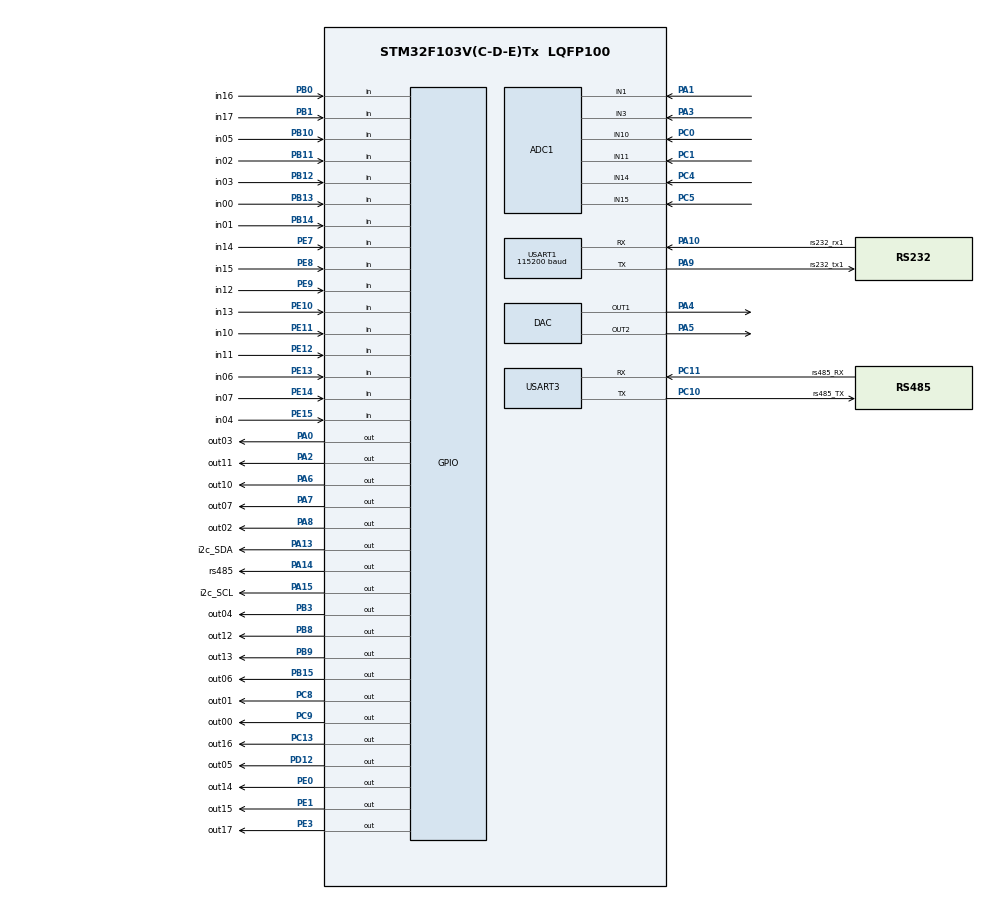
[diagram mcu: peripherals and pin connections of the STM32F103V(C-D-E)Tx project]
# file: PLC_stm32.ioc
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ADC1.Channel-0\#ChannelRegularConversion=ADC_CHANNEL_1
ADC1.Channel-1\#ChannelRegularConversion=ADC_CHANNEL_3
ADC1.Channel-2\#ChannelRegularConversion=ADC_CHANNEL_10
ADC1.Channel-3\#ChannelRegularConversion=ADC_CHANNEL_11
ADC1.Channel-4\#ChannelRegularConversion=ADC_CHANNEL_14
ADC1.Channel-5\#ChannelRegularConversion=ADC_CHANNEL_15
ADC1.NbrOfConversion=6
ADC1.NbrOfConversionFlag=1
ADC1.Rank-0\#ChannelRegularConversion=1
ADC1.Rank-1\#ChannelRegularConversion=2
ADC1.Rank-2\#ChannelRegularConversion=3
ADC1.Rank-3\#ChannelRegularConversion=4
ADC1.Rank-4\#ChannelRegularConversion=5
ADC1.Rank-5\#ChannelRegularConversion=6
ADC1.SamplingTime-0\#ChannelRegularConversion=ADC_SAMPLETIME_55CYCLES_5
ADC1.SamplingTime-1\#ChannelRegularConversion=ADC_SAMPLETIME_55CYCLES_5
ADC1.SamplingTime-2\#ChannelRegularConversion=ADC_SAMPLETIME_55CYCLES_5
ADC1.SamplingTime-3\#ChannelRegularConversion=ADC_SAMPLETIME_55CYCLES_5
ADC1.SamplingTime-4\#ChannelRegularConversion=ADC_SAMPLETIME_55CYCLES_5
ADC1.SamplingTime-5\#ChannelRegularConversion=ADC_SAMPLETIME_55CYCLES_5
ADC1.master=1
Dma.ADC1.0.Direction=DMA_PERIPH_TO_MEMORY
Dma.ADC1.0.Instance=DMA1_Channel1
Dma.ADC1.0.MemDataAlignment=DMA_MDATAALIGN_HALFWORD
Dma.ADC1.0.MemInc=DMA_MINC_ENABLE
Dma.ADC1.0.Mode=DMA_CIRCULAR
Dma.ADC1.0.PeriphDataAlignment=DMA_PDATAALIGN_HALFWORD
Dma.ADC1.0.PeriphInc=DMA_PINC_DISABLE
Dma.ADC1.0.Priority=DMA_PRIORITY_LOW
Dma.Request0=ADC1
Dma.Request1=USART3_RX
Dma.Request2=USART3_TX
Dma.USART3_RX.1.Direction=DMA_PERIPH_TO_MEMORY
Dma.USART3_RX.1.Instance=DMA1_Channel3
Dma.USART3_RX.1.MemDataAlignment=DMA_MDATAALIGN_BYTE
Dma.USART3_RX.1.MemInc=DMA_MINC_ENABLE
Dma.USART3_RX.1.Mode=DMA_NORMAL
Dma.USART3_RX.1.PeriphDataAlignment=DMA_PDATAALIGN_BYTE
Dma.USART3_RX.1.PeriphInc=DMA_PINC_DISABLE
Dma.USART3_RX.1.Priority=DMA_PRIORITY_LOW
Dma.USART3_TX.2.Direction=DMA_MEMORY_TO_PERIPH
Dma.USART3_TX.2.Instance=DMA1_Channel2
Dma.USART3_TX.2.MemDataAlignment=DMA_MDATAALIGN_BYTE
Dma.USART3_TX.2.MemInc=DMA_MINC_ENABLE
Dma.USART3_TX.2.Mode=DMA_NORMAL
Dma.USART3_TX.2.PeriphDataAlignment=DMA_PDATAALIGN_BYTE
Dma.USART3_TX.2.PeriphInc=DMA_PINC_DISABLE
Dma.USART3_TX.2.Priority=DMA_PRIORITY_LOW
Mcu.Family=STM32F1
Mcu.Name=STM32F103V(C-D-E)Tx
Mcu.Package=LQFP100
NVIC.DMA1_Channel1_IRQn=true\:0\:0\:false\:false\:true\:false\:true\:true
NVIC.DMA1_Channel2_IRQn=true\:0\:0\:false\:false\:true\:false\:true\:true
NVIC.DMA1_Channel3_IRQn=true\:0\:0\:false\:false\:true\:false\:true\:true
NVIC.PriorityGroup=NVIC_PRIORITYGROUP_4
NVIC.TIM1_UP_IRQn=true\:0\:0\:false\:false\:true\:true\:true\:true
NVIC.USART3_IRQn=true\:0\:0\:false\:false\:true\:true\:true\:true
PA0-WKUP.GPIO_Label=out03
PA0-WKUP.Signal=GPIO_Output
PA1.Signal=ADCx_IN1
PA10.GPIO_Label=rs232_rx1
PA10.Mode=Asynchronous
PA10.Signal=USART1_RX
PA13.GPIO_Label=i2c_SDA
PA13.GPIO_ModeDefaultOutputPP=GPIO_MODE_OUTPUT_OD
PA13.GPIO_PuPd=GPIO_NOPULL
PA13.Signal=GPIO_Output
PA14.GPIO_Label=rs485
PA14.Signal=GPIO_Output
PA15.GPIO_Label=i2c_SCL
PA15.GPIO_ModeDefaultOutputPP=GPIO_MODE_OUTPUT_OD
PA15.GPIO_PuPd=GPIO_NOPULL
PA15.Signal=GPIO_Output
PA2.GPIO_Label=out11
PA2.Signal=GPIO_Output
PA3.Signal=ADCx_IN3
PA4.Signal=COMP_DAC1_group
PA5.Signal=COMP_DAC2_group
PA6.GPIO_Label=out10
PA6.Signal=GPIO_Output
PA7.GPIO_Label=out07
PA7.Signal=GPIO_Output
PA8.GPIO_Label=out02
PA8.Signal=GPIO_Output
PA9.GPIO_Label=rs232_tx1
PA9.Mode=Asynchronous
PA9.Signal=USART1_TX
PB0.GPIO_Label=in16
PB0.Signal=GPIO_Input
PB1.GPIO_Label=in17
PB1.Signal=GPIO_Input
PB10.GPIO_Label=in05
PB10.Signal=GPIO_Input
PB11.GPIO_Label=in02
PB11.Signal=GPIO_Input
PB12.GPIO_Label=in03
PB12.Signal=GPIO_Input
PB13.GPIO_Label=in00
PB13.Signal=GPIO_Input
PB14.GPIO_Label=in01
PB14.Signal=GPIO_Input
PB15.GPIO_Label=out06
PB15.Signal=GPIO_Output
PB3.GPIO_Label=out04
PB3.Signal=GPIO_Output
PB8.GPIO_Label=out12
PB8.Signal=GPIO_Output
PB9.GPIO_Label=out13
PB9.Signal=GPIO_Output
PC0.Signal=ADCx_IN10
PC1.Signal=ADCx_IN11
PC10.GPIO_Label=rs485_TX
PC10.Mode=Asynchronous
PC10.Signal=USART3_TX
PC11.GPIO_Label=rs485_RX
PC11.Mode=Asynchronous
PC11.Signal=USART3_RX
PC13-TAMPER-RTC.GPIO_Label=out16
PC13-TAMPER-RTC.Signal=GPIO_Output
PC4.Signal=ADCx_IN14
PC5.Signal=ADCx_IN15
PC8.GPIO_Label=out01
PC8.Signal=GPIO_Output
PC9.GPIO_Label=out00
PC9.Signal=GPIO_Output
PD12.GPIO_Label=out05
PD12.Signal=GPIO_Output
PE0.GPIO_Label=out14
PE0.Signal=GPIO_Output
PE1.GPIO_Label=out15
PE1.Signal=GPIO_Output
PE10.GPIO_Label=in13
PE10.Signal=GPIO_Input
PE11.GPIO_Label=in10
PE11.Signal=GPIO_Input
PE12.GPIO_Label=in11
PE12.Signal=GPIO_Input
PE13.GPIO_Label=in06
PE13.Signal=GPIO_Input
PE14.GPIO_Label=in07
PE14.Signal=GPIO_Input
PE15.GPIO_Label=in04
PE15.Signal=GPIO_Input
PE3.GPIO_Label=out17
PE3.Signal=GPIO_Output
PE7.GPIO_Label=in14
PE7.Signal=GPIO_Input
PE8.GPIO_Label=in15
PE8.Signal=GPIO_Input
PE9.GPIO_Label=in12
PE9.Signal=GPIO_Input
ProjectManager.HeapSize=0x200
ProjectManager.StackSize=0x400
ProjectManager.TargetToolchain=STM32CubeIDE
RCC.APB1Freq_Value=8000000
RCC.APB2Freq_Value=8000000
SH.ADCx_IN1.0=ADC1_IN1,IN1
SH.ADCx_IN10.0=ADC1_IN10,IN10
SH.ADCx_IN11.0=ADC1_IN11,IN11
SH.ADCx_IN14.0=ADC1_IN14,IN14
SH.ADCx_IN15.0=ADC1_IN15,IN15
SH.ADCx_IN3.0=ADC1_IN3,IN3
SH.COMP_DAC1_group.0=DAC_OUT1,DAC_OUT1
SH.COMP_DAC2_group.0=DAC_OUT2,DAC_OUT2
TIM1.AutoReloadPreload=TIM_AUTORELOAD_PRELOAD_ENABLE
TIM1.Period=99
TIM1.Prescaler=7999
USART1.BaudRate=115200
USART1.VirtualMode=VM_ASYNC
USART3.VirtualMode=VM_ASYNC
VP_SYS_VS_ND.Mode=No_Debug
VP_TIM1_VS_ClockSourceINT.Mode=Internal
board=custom

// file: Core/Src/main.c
/* USER CODE BEGIN Header */
/**
 ******************************************************************************
 * @file           : main.c
 * @brief          : Main program body
 ******************************************************************************
 * @attention
 *
 * Copyright (c) 2026 STMicroelectronics.
 * All rights reserved.
 *
 * This software is licensed under terms that can be found in the LICENSE file
 * in the root directory of this software component.
 * If no LICENSE file comes with this software, it is provided AS-IS.
 *
 ******************************************************************************
 */
/* USER CODE END Header */
#include "main.h"

/* USER CODE BEGIN Includes */
#include <stdint.h>
#include <stdbool.h>
#include <stdio.h>
#include "io.h"
#include "plc.h"
#include "rs485.h"
/* USER CODE END Includes */

ADC_HandleTypeDef hadc1;
DMA_HandleTypeDef hdma_adc1;

DAC_HandleTypeDef hdac;

TIM_HandleTypeDef htim1;

UART_HandleTypeDef huart1;
UART_HandleTypeDef huart3;
DMA_HandleTypeDef hdma_usart3_rx;
DMA_HandleTypeDef hdma_usart3_tx;

/* USER CODE BEGIN PV */
volatile uint8_t timer_ready = 0;
typedef struct {
    uint16_t on_cnt;
    uint16_t off_cnt;
    uint8_t  state;
} PlcDelay_t;

uint16_t DAC_ch1,DAC_ch2;
uint8_t  in[16],out[12],aut_podawanie,aut_g1,aut_g2;// automat1 -podawanie
uint8_t stop_ssanie, stop_mlyn, stop_mieszadlo, stop_inne;
PlcDelay_t fb[30];
uint16_t adc_buffer[6]; // Bufor dla DMA (6 kanałów)
uint16_t val_ch1, val_ch3, val_ch10, val_ch11, val_ch14, val_ch15;
// W sekcji USER CODE BEGIN PV
uint16_t current_ch1, current_ch3, current_ch14; // Prąd w mA (np. 1250 = 1.25A)

/* USER CODE END PV */

void SystemClock_Config(void);
static void MX_GPIO_Init(void);
static void MX_DMA_Init(void);
static void MX_ADC1_Init(void);
static void MX_DAC_Init(void);
static void MX_USART3_UART_Init(void);
static void MX_USART1_UART_Init(void);
static void MX_TIM1_Init(void);

/* USER CODE BEGIN 0 */
static const CalPoint cal_ch1[14] = {{0,0},
    {669, 530},   {959, 1080},  {1155, 1630}, {1310, 2160}, {1311, 2170},
    {1424, 2700}, {1435, 2730}, {1547, 3260}, {1648, 3800}, {1732, 4330},
    {1806, 4840}, {1877, 5350}, {1945, 5840}
};

static const CalPoint cal_ch3[14] = {{0,0},
    {668, 530},   {968, 1080},  {1174, 1630}, {1333, 2160}, {1335, 2170},
    {1466, 2730}, {1475, 2700}, {1578, 3260}, {1687, 3800}, {1772, 4330},
    {1850, 4840}, {1924, 5350}, {1992, 5840}
};

static const CalPoint cal_ch14[14] = {{0,0},
    {681, 530},   {975, 1080},  {1177, 1630}, {1333, 2160}, {1336, 2170},
    {1462, 2730}, {1475, 2700}, {1576, 3260}, {1680, 3800}, {1770, 4330},
    {1845, 4840}, {1916, 5350}, {1982, 5840}
};
static uint16_t interp_current(uint16_t raw, const CalPoint *tab, uint8_t count)
{
    if (raw <= tab[0].adc) return tab[0].ma;
    if (raw >= tab[count - 1].adc) return tab[count - 1].ma;

    for (uint8_t i = 0; i < count - 1; i++) {
        if (raw >= tab[i].adc && raw <= tab[i + 1].adc) {
            // Używamy int32_t zamiast uint32_t, aby obsłużyć ujemne dy
            int32_t dx = (int32_t)tab[i + 1].adc - (int32_t)tab[i].adc;
            int32_t dy = (int32_t)tab[i + 1].ma - (int32_t)tab[i].ma;
            int32_t pos = (int32_t)raw - (int32_t)tab[i].adc;

            if (dx == 0) return tab[i].ma;

            // Obliczenie z poprawnym znakiem
            int32_t result = (int32_t)tab[i].ma + (pos * dy) / dx;

            // Zabezpieczenie, żeby prąd nigdy nie był ujemny (poniżej 0)
            if (result < 0) return 0;
            return (uint16_t)result;
        }
    }
    return 0;
}

/* --- GŁÓWNA FUNKCJA AKTUALIZACJI --- */

void UpdateADC(void)
{
    // Obliczamy prąd bezpośrednio z tablic kalibracyjnych (bez filtrów)
    // Zakładamy: Ch1 = index 0, Ch3 = index 1, Ch14 = index 4 w adc_buffer
    current_ch1  = interp_current(adc_buffer[0], cal_ch1, 13);
    current_ch3  = interp_current(adc_buffer[1], cal_ch3, 13);
    current_ch14 = interp_current(adc_buffer[4], cal_ch14, 13);

    // Przepisanie surowych wartości ADC do zmiennych diagnostycznych
    val_ch1  = adc_buffer[0];
    val_ch3  = adc_buffer[1];
    val_ch10 = adc_buffer[2];
    val_ch11 = adc_buffer[3];
    val_ch14 = adc_buffer[4];
    val_ch15 = adc_buffer[5];
}
void UpdateADCs(void) {

    // 1. Pobranie danych z bufora
    uint16_t raw_values[3] = {adc_buffer[0], adc_buffer[1], adc_buffer[4]};
    uint32_t raw;
    uint32_t ma[3];
    static uint32_t filtered[3] = {0, 0, 0}; // Musi być zainicjalizowane

    // ==========================================
    // KANAŁ 1 (current_ch1)
    // ==========================================
    raw = raw_values[0];
    if (raw < 150) ma[0] = 0;
    else if (raw < 680)  ma[0] = (raw - 150) * 1200 / 530;
    else if (raw < 1300) ma[0] = 1200 + (raw - 680) * 1600 / 620;
    else if (raw < 1850) ma[0] = 2800 + (raw - 1300) * 2000 / 550;
    else ma[0] = 4800 + (raw - 1850) * 100 / 11; // Kalibracja 1954 -> 5.78A

    filtered[0] = (filtered[0] * 3 + ma[0]) / 4;
    current_ch1 = (uint16_t)filtered[0];

    // ==========================================
    // KANAŁ 2 (current_ch3)
    // ==========================================
    raw = raw_values[1];
    if (raw < 150) ma[1] = 0;
    else if (raw < 680)  ma[1] = (raw - 150) * 1200 / 530;
    else if (raw < 1300) ma[1] = 1200 + (raw - 680) * 1600 / 620;
    else if (raw < 1850) ma[1] = 2800 + (raw - 1300) * 2000 / 550;
    else ma[1] = 4800 + (raw - 1850) * 100 / 15; // Kalibracja 2000 -> 5.78A

    filtered[1] = (filtered[1] * 3 + ma[1]) / 4;
    current_ch3 = (uint16_t)filtered[1];

    // ==========================================
    // KANAŁ 3 (current_ch14)
    // ==========================================
    raw = raw_values[2];
    if (raw < 150) ma[2] = 0;
    else if (raw < 680)  ma[2] = (raw - 150) * 1200 / 530;
    else if (raw < 1300) ma[2] = 1200 + (raw - 680) * 1600 / 620;
    else if (raw < 1850) ma[2] = 2800 + (raw - 1300) * 2000 / 550;
    else ma[2] = 4800 + (raw - 1850) * 100 / 13;

    filtered[2] = (filtered[2] * 3 + ma[2]) / 4;
    current_ch14 = (uint16_t)filtered[2];

    // ==========================================
    // TWOJE LOGI I SUROWE DANE (Zostawione zgodnie z prośbą)
    // ==========================================
    val_ch1  = adc_buffer[0]; // Rank 1
    val_ch3  = adc_buffer[1]; // Rank 2
    val_ch10 = adc_buffer[2]; // Rank 3
    val_ch11 = adc_buffer[3]; // Rank 4
    val_ch14 = adc_buffer[4]; // Rank 5
    val_ch15 = adc_buffer[5]; // Rank 6
}
uint8_t Plc_OnOffDelay(PlcDelay_t* fb,
                       uint8_t in,
                       uint16_t onN,
                       uint16_t offN,
                       uint8_t automat,
                       uint8_t defaultState)
{
    // === AUTOMAT WYŁĄCZONY ===
    if (!automat)
    {
        fb->on_cnt = 0;
        fb->off_cnt = 0;
        fb->state = defaultState;
        return fb->state;
    }

    // === NORMALNA PRACA ===
    if (in)
    {
        fb->off_cnt = 0;

        if (fb->state == 0)
        {
            if (fb->on_cnt < onN) fb->on_cnt++;
            if (fb->on_cnt >= onN) fb->state = 1;
        }
    }
    else
    {
        fb->on_cnt = 0;

        if (fb->state == 1)
        {
            if (fb->off_cnt < offN) fb->off_cnt++;
            if (fb->off_cnt >= offN) fb->state = 0;
        }
    }

    return fb->state;
}

void ReadInputs(void)
{
    in[0]  = (HAL_GPIO_ReadPin(in00_GPIO_Port,  in00_Pin)  == GPIO_PIN_RESET);
    in[1]  = (HAL_GPIO_ReadPin(in01_GPIO_Port,  in01_Pin)  == GPIO_PIN_RESET);
    in[2]  = (HAL_GPIO_ReadPin(in02_GPIO_Port,  in02_Pin)  == GPIO_PIN_RESET);
    in[3]  = (HAL_GPIO_ReadPin(in03_GPIO_Port,  in03_Pin)  == GPIO_PIN_RESET);
    in[4]  = (HAL_GPIO_ReadPin(in04_GPIO_Port,  in04_Pin)  == GPIO_PIN_RESET);
    in[5]  = (HAL_GPIO_ReadPin(in05_GPIO_Port,  in05_Pin)  == GPIO_PIN_RESET);
    in[6]  = (HAL_GPIO_ReadPin(in06_GPIO_Port,  in06_Pin)  == GPIO_PIN_RESET);
    in[7]  = (HAL_GPIO_ReadPin(in07_GPIO_Port,  in07_Pin)  == GPIO_PIN_RESET);
    in[8] = 2;
    in[9] = 2;
    // pomijamy 8 i 9

    in[10]  = (HAL_GPIO_ReadPin(in10_GPIO_Port, in10_Pin) == GPIO_PIN_RESET);
    in[11]  = (HAL_GPIO_ReadPin(in11_GPIO_Port, in11_Pin) == GPIO_PIN_RESET);
    in[12] = (HAL_GPIO_ReadPin(in12_GPIO_Port, in12_Pin) == GPIO_PIN_RESET);
    in[13] = (HAL_GPIO_ReadPin(in13_GPIO_Port, in13_Pin) == GPIO_PIN_RESET);
    in[14] = (HAL_GPIO_ReadPin(in14_GPIO_Port, in14_Pin) == GPIO_PIN_RESET);
    in[15] = (HAL_GPIO_ReadPin(in15_GPIO_Port, in15_Pin) == GPIO_PIN_RESET);
}
void WriteOutputs(void)
{
    HAL_GPIO_WritePin(out00_GPIO_Port,  out00_Pin,  out[0]  ? GPIO_PIN_SET : GPIO_PIN_RESET);
    HAL_GPIO_WritePin(out01_GPIO_Port,  out01_Pin,  out[1]  ? GPIO_PIN_SET : GPIO_PIN_RESET);
    HAL_GPIO_WritePin(out02_GPIO_Port,  out02_Pin,  out[2]  ? GPIO_PIN_SET : GPIO_PIN_RESET);
    HAL_GPIO_WritePin(out03_GPIO_Port,  out03_Pin,  out[3]  ? GPIO_PIN_SET : GPIO_PIN_RESET);
    HAL_GPIO_WritePin(out04_GPIO_Port,  out04_Pin,  out[4]  ? GPIO_PIN_SET : GPIO_PIN_RESET);
    HAL_GPIO_WritePin(out05_GPIO_Port,  out05_Pin,  out[5]  ? GPIO_PIN_SET : GPIO_PIN_RESET);
    HAL_GPIO_WritePin(out06_GPIO_Port,  out06_Pin,  out[6]  ? GPIO_PIN_SET : GPIO_PIN_RESET);
    HAL_GPIO_WritePin(out07_GPIO_Port,  out07_Pin,  out[7]  ? GPIO_PIN_SET : GPIO_PIN_RESET);
    out[8] = 2;
    out[9] = 2;
    HAL_GPIO_WritePin(out10_GPIO_Port, out10_Pin, out[10] ? GPIO_PIN_SET : GPIO_PIN_RESET);
    HAL_GPIO_WritePin(out11_GPIO_Port, out11_Pin, out[11] ? GPIO_PIN_SET : GPIO_PIN_RESET);
}

void LogPLC(const char* prefix) {
    char msg[250]; // Zwiększony bufor dla pewności
    int pos = 0;

    // Używamy snprintf do wszystkiego, aby uniknąć błędów z ręcznym inkrementowaniem
    pos += snprintf(&msg[pos], 250 - pos, "%.5s: in:", prefix);
    // Wejścia - 24 bity
    for (int i = 0; i < 24; i++)
    {
        char c = (inputs & (1UL << i)) ? '1' : '0';

        if (pos < (int)sizeof(msg) - 1)
            msg[pos++] = c;

        // Separator po 4 bitach
        if ((i + 1) % 4 == 0 && i != 23)
        {
            if ((i + 1) % 8 == 0)
            {
                // Po 8 bitach - dwie spacje
                if (pos < (int)sizeof(msg) - 2)
                {
                    msg[pos++] = ' ';
                    msg[pos++] = ' ';
                }
            }
            else
            {
                // Po 4 bitach - jedna spacja
                if (pos < (int)sizeof(msg) - 1)
                    msg[pos++] = ' ';
            }
        }
    }
    pos += snprintf(&msg[pos], sizeof(msg) - pos, " out:");

    for (int i = 0; i < 24; i++)
    {
        char c = (outputs & (1UL << i)) ? '1' : '0';

        if (pos < (int)sizeof(msg) - 1)
            msg[pos++] = c;

        if ((i + 1) % 4 == 0 && i != 23)
        {
            if ((i + 1) % 8 == 0)
            {
                if (pos < (int)sizeof(msg) - 2)
                {
                    msg[pos++] = ' ';
                    msg[pos++] = ' ';
                }
            }
            else
            {
                if (pos < (int)sizeof(msg) - 1)
                    msg[pos++] = ' ';
            }
        }
    }

    // ADC w HEX
    pos += snprintf(&msg[pos], 250 - pos, " ADC: %04X %04X %04X %04X %04X %04X",
                    val_ch1, val_ch3, val_ch10, val_ch11, val_ch14, val_ch15);
    pos += snprintf(&msg[pos], 250 - pos, " I(mA): %04u %04u %04u out: %04u %04u\r\n",
                    current_ch1, current_ch3, current_ch14,DAC_ch1,DAC_ch2);
    // WYSYŁKA: Zwiększony Timeout do 200ms, aby cała ramka zdążyła wyjść
      HAL_UART_Transmit(&huart1, (uint8_t*)msg, pos, 200);

      //snprintf(&TxBuffer[0],2,"OK");

   //   HAL_GPIO_WritePin(rs485_GPIO_Port, rs485_Pin, GPIO_PIN_SET);

    //  HAL_UART_Transmit(&huart3, (uint8_t*)msg, pos, 200);
      // HAL_GPIO_WritePin(rs485_GPIO_Port, rs485_Pin, GPIO_PIN_RESET);
   // HAL_GPIO_WritePin(rs485_GPIO_Port, rs485_Pin, SET);

}

/* USER CODE END 0 */

int main(void)
{

  /* MCU Configuration--------------------------------------------------------*/

  /* Reset of all peripherals, Initializes the Flash interface and the Systick. */
  HAL_Init();

  /* Configure the system clock */
  SystemClock_Config();

  /* Initialize all configured peripherals */
  MX_GPIO_Init();
  MX_DMA_Init();
  MX_ADC1_Init();
  MX_DAC_Init();
  MX_USART3_UART_Init();
  MX_USART1_UART_Init();
  MX_TIM1_Init();
  /* USER CODE BEGIN 2 */
  HAL_ADC_Start_DMA(&hadc1, (uint32_t*)adc_buffer, 6);
  // Ustawienie pinu kierunku na odbiór
  HAL_GPIO_WritePin(rs485_GPIO_Port, rs485_Pin, GPIO_PIN_RESET);

  // Uruchomienie nasłuchu DMA z detekcją IDLE na maksymalnie 256 bajtów
 // init_rx_rs485();

  PLC_Init();
  init_rx_rs485();
  /* USER CODE END 2 */

  /* Infinite loop */
  /* USER CODE BEGIN WHILE */
  HAL_TIM_Base_Start_IT(&htim1);
  // Plc_OnOffDelay(&fb[0]zmienna, in[2]wejście, 10czas on, 2czas off,aut_podawanie,0-gdy off automatyka);// załącza po 10 wyłacza po 2
	while (1) {

		HAL_ADC_Start_DMA(&hadc1, (uint32_t*)adc_buffer, 6);

		//ReadInputs();
	    IO_ReadInputs();
	    PLC_Run();
	    rs485();
	    rs485_watchdog();
	    IO_WriteOutputs();

        //DAC_ch1 = 1000;
       // DAC_ch2 = 2000;

        HAL_DAC_SetValue(&hdac, DAC_CHANNEL_1, DAC_ALIGN_12B_R, DAC_ch1);
        HAL_DAC_SetValue(&hdac, DAC_CHANNEL_2, DAC_ALIGN_12B_R, DAC_ch2);
        HAL_DAC_Start(&hdac, DAC_CHANNEL_1);
        HAL_DAC_Start(&hdac, DAC_CHANNEL_2);
		LogPLC("V1.4 ");

		UpdateADC(); // Aktualizujemy zmienne pomocnicze
		while(timer_ready == 0);
		timer_ready = 0;
		//HAL_Delay(100);
		//WriteOutputs();

    /* USER CODE END WHILE */

	}
}

void SystemClock_Config(void)
{
  RCC_OscInitTypeDef RCC_OscInitStruct = {0};
  RCC_ClkInitTypeDef RCC_ClkInitStruct = {0};
  RCC_PeriphCLKInitTypeDef PeriphClkInit = {0};

  /** Initializes the RCC Oscillators according to the specified parameters
  * in the RCC_OscInitTypeDef structure.
  */
  RCC_OscInitStruct.OscillatorType = RCC_OSCILLATORTYPE_HSI;
  RCC_OscInitStruct.HSIState = RCC_HSI_ON;
  RCC_OscInitStruct.HSICalibrationValue = RCC_HSICALIBRATION_DEFAULT;
  RCC_OscInitStruct.PLL.PLLState = RCC_PLL_NONE;
  if (HAL_RCC_OscConfig(&RCC_OscInitStruct) != HAL_OK)
  {
    Error_Handler();
  }

  /** Initializes the CPU, AHB and APB buses clocks
  */
  RCC_ClkInitStruct.ClockType = RCC_CLOCKTYPE_HCLK|RCC_CLOCKTYPE_SYSCLK
                              |RCC_CLOCKTYPE_PCLK1|RCC_CLOCKTYPE_PCLK2;
  RCC_ClkInitStruct.SYSCLKSource = RCC_SYSCLKSOURCE_HSI;
  RCC_ClkInitStruct.AHBCLKDivider = RCC_SYSCLK_DIV1;
  RCC_ClkInitStruct.APB1CLKDivider = RCC_HCLK_DIV1;
  RCC_ClkInitStruct.APB2CLKDivider = RCC_HCLK_DIV1;

  if (HAL_RCC_ClockConfig(&RCC_ClkInitStruct, FLASH_LATENCY_0) != HAL_OK)
  {
    Error_Handler();
  }
  PeriphClkInit.PeriphClockSelection = RCC_PERIPHCLK_ADC;
  PeriphClkInit.AdcClockSelection = RCC_ADCPCLK2_DIV2;
  if (HAL_RCCEx_PeriphCLKConfig(&PeriphClkInit) != HAL_OK)
  {
    Error_Handler();
  }
}

static void MX_ADC1_Init(void)
{

  ADC_ChannelConfTypeDef sConfig = {0};

  /** Common config
  */
  hadc1.Instance = ADC1;
  hadc1.Init.ScanConvMode = ADC_SCAN_ENABLE;
  hadc1.Init.ContinuousConvMode = DISABLE;
  hadc1.Init.DiscontinuousConvMode = DISABLE;
  hadc1.Init.ExternalTrigConv = ADC_SOFTWARE_START;
  hadc1.Init.DataAlign = ADC_DATAALIGN_RIGHT;
  hadc1.Init.NbrOfConversion = 6;
  if (HAL_ADC_Init(&hadc1) != HAL_OK)
  {
    Error_Handler();
  }

  /** Configure Regular Channel
  */
  sConfig.Channel = ADC_CHANNEL_1;
  sConfig.Rank = ADC_REGULAR_RANK_1;
  sConfig.SamplingTime = ADC_SAMPLETIME_55CYCLES_5;
  if (HAL_ADC_ConfigChannel(&hadc1, &sConfig) != HAL_OK)
  {
    Error_Handler();
  }

  /** Configure Regular Channel
  */
  sConfig.Channel = ADC_CHANNEL_3;
  sConfig.Rank = ADC_REGULAR_RANK_2;
  if (HAL_ADC_ConfigChannel(&hadc1, &sConfig) != HAL_OK)
  {
    Error_Handler();
  }

  /** Configure Regular Channel
  */
  sConfig.Channel = ADC_CHANNEL_10;
  sConfig.Rank = ADC_REGULAR_RANK_3;
  if (HAL_ADC_ConfigChannel(&hadc1, &sConfig) != HAL_OK)
  {
    Error_Handler();
  }

  /** Configure Regular Channel
  */
  sConfig.Channel = ADC_CHANNEL_11;
  sConfig.Rank = ADC_REGULAR_RANK_4;
  if (HAL_ADC_ConfigChannel(&hadc1, &sConfig) != HAL_OK)
  {
    Error_Handler();
  }

  /** Configure Regular Channel
  */
  sConfig.Channel = ADC_CHANNEL_14;
  sConfig.Rank = ADC_REGULAR_RANK_5;
  if (HAL_ADC_ConfigChannel(&hadc1, &sConfig) != HAL_OK)
  {
    Error_Handler();
  }

  /** Configure Regular Channel
  */
  sConfig.Channel = ADC_CHANNEL_15;
  sConfig.Rank = ADC_REGULAR_RANK_6;
  if (HAL_ADC_ConfigChannel(&hadc1, &sConfig) != HAL_OK)
  {
    Error_Handler();
  }

}

static void MX_DAC_Init(void)
{

  DAC_ChannelConfTypeDef sConfig = {0};

  /** DAC Initialization
  */
  hdac.Instance = DAC;
  if (HAL_DAC_Init(&hdac) != HAL_OK)
  {
    Error_Handler();
  }

  /** DAC channel OUT1 config
  */
  sConfig.DAC_Trigger = DAC_TRIGGER_NONE;
  sConfig.DAC_OutputBuffer = DAC_OUTPUTBUFFER_ENABLE;
  if (HAL_DAC_ConfigChannel(&hdac, &sConfig, DAC_CHANNEL_1) != HAL_OK)
  {
    Error_Handler();
  }

  /** DAC channel OUT2 config
  */
  if (HAL_DAC_ConfigChannel(&hdac, &sConfig, DAC_CHANNEL_2) != HAL_OK)
  {
    Error_Handler();
  }

}

static void MX_TIM1_Init(void)
{

  TIM_ClockConfigTypeDef sClockSourceConfig = {0};
  TIM_MasterConfigTypeDef sMasterConfig = {0};

  htim1.Instance = TIM1;
  htim1.Init.Prescaler = 7999;
  htim1.Init.CounterMode = TIM_COUNTERMODE_UP;
  htim1.Init.Period = 99;
  htim1.Init.ClockDivision = TIM_CLOCKDIVISION_DIV1;
  htim1.Init.RepetitionCounter = 0;
  htim1.Init.AutoReloadPreload = TIM_AUTORELOAD_PRELOAD_ENABLE;
  if (HAL_TIM_Base_Init(&htim1) != HAL_OK)
  {
    Error_Handler();
  }
  sClockSourceConfig.ClockSource = TIM_CLOCKSOURCE_INTERNAL;
  if (HAL_TIM_ConfigClockSource(&htim1, &sClockSourceConfig) != HAL_OK)
  {
    Error_Handler();
  }
  sMasterConfig.MasterOutputTrigger = TIM_TRGO_RESET;
  sMasterConfig.MasterSlaveMode = TIM_MASTERSLAVEMODE_DISABLE;
  if (HAL_TIMEx_MasterConfigSynchronization(&htim1, &sMasterConfig) != HAL_OK)
  {
    Error_Handler();
  }

}

static void MX_USART1_UART_Init(void)
{

  huart1.Instance = USART1;
  huart1.Init.BaudRate = 115200;
  huart1.Init.WordLength = UART_WORDLENGTH_8B;
  huart1.Init.StopBits = UART_STOPBITS_1;
  huart1.Init.Parity = UART_PARITY_NONE;
  huart1.Init.Mode = UART_MODE_TX_RX;
  huart1.Init.HwFlowCtl = UART_HWCONTROL_NONE;
  huart1.Init.OverSampling = UART_OVERSAMPLING_16;
  if (HAL_UART_Init(&huart1) != HAL_OK)
  {
    Error_Handler();
  }

}

static void MX_USART3_UART_Init(void)
{

  huart3.Instance = USART3;
  huart3.Init.BaudRate = 115200;
  huart3.Init.WordLength = UART_WORDLENGTH_8B;
  huart3.Init.StopBits = UART_STOPBITS_1;
  huart3.Init.Parity = UART_PARITY_NONE;
  huart3.Init.Mode = UART_MODE_TX_RX;
  huart3.Init.HwFlowCtl = UART_HWCONTROL_NONE;
  huart3.Init.OverSampling = UART_OVERSAMPLING_16;
  if (HAL_UART_Init(&huart3) != HAL_OK)
  {
    Error_Handler();
  }

}

static void MX_DMA_Init(void)
{

  /* DMA controller clock enable */
  __HAL_RCC_DMA1_CLK_ENABLE();

  /* DMA interrupt init */
  /* DMA1_Channel1_IRQn interrupt configuration */
  HAL_NVIC_SetPriority(DMA1_Channel1_IRQn, 0, 0);
  HAL_NVIC_EnableIRQ(DMA1_Channel1_IRQn);
  /* DMA1_Channel2_IRQn interrupt configuration */
  HAL_NVIC_SetPriority(DMA1_Channel2_IRQn, 0, 0);
  HAL_NVIC_EnableIRQ(DMA1_Channel2_IRQn);
  /* DMA1_Channel3_IRQn interrupt configuration */
  HAL_NVIC_SetPriority(DMA1_Channel3_IRQn, 0, 0);
  HAL_NVIC_EnableIRQ(DMA1_Channel3_IRQn);

}

static void MX_GPIO_Init(void)
{
  GPIO_InitTypeDef GPIO_InitStruct = {0};

  /* GPIO Ports Clock Enable */
  __HAL_RCC_GPIOE_CLK_ENABLE();
  __HAL_RCC_GPIOC_CLK_ENABLE();
  __HAL_RCC_GPIOA_CLK_ENABLE();
  __HAL_RCC_GPIOB_CLK_ENABLE();
  __HAL_RCC_GPIOD_CLK_ENABLE();

  /*Configure GPIO pin Output Level */
  HAL_GPIO_WritePin(GPIOE, out17_Pin|out14_Pin|out15_Pin, GPIO_PIN_RESET);

  /*Configure GPIO pin Output Level */
  HAL_GPIO_WritePin(GPIOC, out16_Pin|out01_Pin|out00_Pin, GPIO_PIN_RESET);

  /*Configure GPIO pin Output Level */
  HAL_GPIO_WritePin(GPIOA, out03_Pin|out11_Pin|out10_Pin|out07_Pin
                          |out02_Pin|i2c_SDA_Pin|rs485_Pin|i2c_SCL_Pin, GPIO_PIN_RESET);

  /*Configure GPIO pin Output Level */
  HAL_GPIO_WritePin(GPIOB, out06_Pin|out04_Pin|out12_Pin|out13_Pin, GPIO_PIN_RESET);

  /*Configure GPIO pin Output Level */
  HAL_GPIO_WritePin(out05_GPIO_Port, out05_Pin, GPIO_PIN_RESET);

  /*Configure GPIO pins : out17_Pin out14_Pin out15_Pin */
  GPIO_InitStruct.Pin = out17_Pin|out14_Pin|out15_Pin;
  GPIO_InitStruct.Mode = GPIO_MODE_OUTPUT_PP;
  GPIO_InitStruct.Pull = GPIO_NOPULL;
  GPIO_InitStruct.Speed = GPIO_SPEED_FREQ_LOW;
  HAL_GPIO_Init(GPIOE, &GPIO_InitStruct);

  /*Configure GPIO pins : out16_Pin out01_Pin out00_Pin */
  GPIO_InitStruct.Pin = out16_Pin|out01_Pin|out00_Pin;
  GPIO_InitStruct.Mode = GPIO_MODE_OUTPUT_PP;
  GPIO_InitStruct.Pull = GPIO_NOPULL;
  GPIO_InitStruct.Speed = GPIO_SPEED_FREQ_LOW;
  HAL_GPIO_Init(GPIOC, &GPIO_InitStruct);

  /*Configure GPIO pins : out03_Pin out11_Pin out10_Pin out07_Pin
                           out02_Pin rs485_Pin */
  GPIO_InitStruct.Pin = out03_Pin|out11_Pin|out10_Pin|out07_Pin
                          |out02_Pin|rs485_Pin;
  GPIO_InitStruct.Mode = GPIO_MODE_OUTPUT_PP;
  GPIO_InitStruct.Pull = GPIO_NOPULL;
  GPIO_InitStruct.Speed = GPIO_SPEED_FREQ_LOW;
  HAL_GPIO_Init(GPIOA, &GPIO_InitStruct);

  /*Configure GPIO pins : in16_Pin in17_Pin in05_Pin in02_Pin
                           in03_Pin in00_Pin in01_Pin */
  GPIO_InitStruct.Pin = in16_Pin|in17_Pin|in05_Pin|in02_Pin
                          |in03_Pin|in00_Pin|in01_Pin;
  GPIO_InitStruct.Mode = GPIO_MODE_INPUT;
  GPIO_InitStruct.Pull = GPIO_NOPULL;
  HAL_GPIO_Init(GPIOB, &GPIO_InitStruct);

  /*Configure GPIO pins : in14_Pin in15_Pin in12_Pin in13_Pin
                           in10_Pin in11_Pin in06_Pin in07_Pin
                           in04_Pin */
  GPIO_InitStruct.Pin = in14_Pin|in15_Pin|in12_Pin|in13_Pin
                          |in10_Pin|in11_Pin|in06_Pin|in07_Pin
                          |in04_Pin;
  GPIO_InitStruct.Mode = GPIO_MODE_INPUT;
  GPIO_InitStruct.Pull = GPIO_NOPULL;
  HAL_GPIO_Init(GPIOE, &GPIO_InitStruct);

  /*Configure GPIO pins : out06_Pin out04_Pin out12_Pin out13_Pin */
  GPIO_InitStruct.Pin = out06_Pin|out04_Pin|out12_Pin|out13_Pin;
  GPIO_InitStruct.Mode = GPIO_MODE_OUTPUT_PP;
  GPIO_InitStruct.Pull = GPIO_NOPULL;
  GPIO_InitStruct.Speed = GPIO_SPEED_FREQ_LOW;
  HAL_GPIO_Init(GPIOB, &GPIO_InitStruct);

  /*Configure GPIO pin : out05_Pin */
  GPIO_InitStruct.Pin = out05_Pin;
  GPIO_InitStruct.Mode = GPIO_MODE_OUTPUT_PP;
  GPIO_InitStruct.Pull = GPIO_NOPULL;
  GPIO_InitStruct.Speed = GPIO_SPEED_FREQ_LOW;
  HAL_GPIO_Init(out05_GPIO_Port, &GPIO_InitStruct);

  /*Configure GPIO pins : i2c_SDA_Pin i2c_SCL_Pin */
  GPIO_InitStruct.Pin = i2c_SDA_Pin|i2c_SCL_Pin;
  GPIO_InitStruct.Mode = GPIO_MODE_OUTPUT_OD;
  GPIO_InitStruct.Pull = GPIO_NOPULL;
  GPIO_InitStruct.Speed = GPIO_SPEED_FREQ_LOW;
  HAL_GPIO_Init(GPIOA, &GPIO_InitStruct);

}

/* USER CODE BEGIN 4 */
void HAL_TIM_PeriodElapsedCallback(TIM_HandleTypeDef *htim) {
    if (htim->Instance == TIM1) {
        timer_ready = 1; // Ustaw flagę co 100ms
    }
}
/*void HAL_UARTEx_RxEventCallback(UART_HandleTypeDef *huart, uint16_t Size)
{
    if (huart->Instance == USART3)
    {
        // Zapisujemy ile bajtów faktycznie przyszło
        U3_size_RX = Size;
        // Podnosimy flagę dla pętli głównej
        U3_Received = 1;
    }
}
void HAL_UART_TxCpltCallback(UART_HandleTypeDef *huart)
{
    if (huart->Instance == USART3)
    {
        // 1. Transmisja fizycznie zakończona - przełączamy RS485 z powrotem na odbiór
        HAL_GPIO_WritePin(rs485_GPIO_Port, rs485_Pin, GPIO_PIN_RESET);

        // 2. Ponownie uruchamiamy nasłuchiwanie nowych zapytań od Mastera
        init_rx_rs485();
       //HAL_UARTEx_ReceiveToIdle_DMA(&huart3, U3_RxBuffer, 256);
    }
}
*/

/* USER CODE END 4 */

void Error_Handler(void)
{
  /* USER CODE BEGIN Error_Handler_Debug */
	/* User can add his own implementation to report the HAL error return state */
	__disable_irq();
	while (1) {
	}
	HAL_GPIO_WritePin(out00_GPIO_Port, out00_Pin,
			HAL_GPIO_ReadPin(in00_GPIO_Port, in00_Pin));
	HAL_GPIO_WritePin(out01_GPIO_Port, out01_Pin,
			HAL_GPIO_ReadPin(in01_GPIO_Port, in01_Pin));
	HAL_GPIO_WritePin(out02_GPIO_Port, out02_Pin,
			HAL_GPIO_ReadPin(in12_GPIO_Port, in12_Pin));
	HAL_GPIO_WritePin(out03_GPIO_Port, out03_Pin,
			HAL_GPIO_ReadPin(in13_GPIO_Port, in13_Pin));
	HAL_GPIO_WritePin(out04_GPIO_Port, out04_Pin,
			HAL_GPIO_ReadPin(in14_GPIO_Port, in14_Pin));
	HAL_GPIO_WritePin(out05_GPIO_Port, out05_Pin,
			HAL_GPIO_ReadPin(in15_GPIO_Port, in15_Pin));
	HAL_GPIO_WritePin(out06_GPIO_Port, out06_Pin,
			HAL_GPIO_ReadPin(in06_GPIO_Port, in06_Pin));
	HAL_GPIO_WritePin(out07_GPIO_Port, out07_Pin,
			HAL_GPIO_ReadPin(in07_GPIO_Port, in07_Pin));

  /* USER CODE END Error_Handler_Debug */
}
